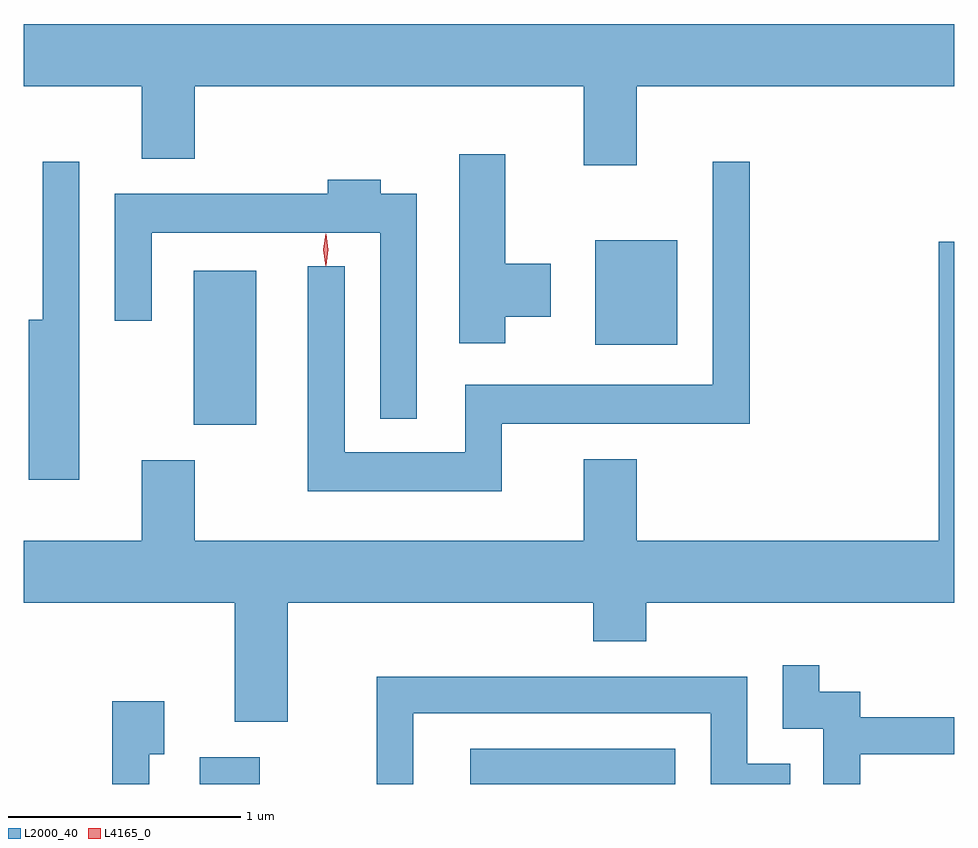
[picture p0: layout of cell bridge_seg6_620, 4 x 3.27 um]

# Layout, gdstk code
import gdstk
lib = gdstk.Library(unit=1e-6, precision=1e-09)
def R(c, l, rs):  # rectangles x0, y0, x1, y1
    for r in rs: c.add(gdstk.rectangle(r[:2], r[2:], *l))
def P(c, l, *ps):  # polygons
    for p in ps: c.add(gdstk.Polygon(p, *l))
L2000_40 = (2000, 40)
L4165_0 = (4165, 0)

bridge_seg6_620 = lib.new_cell('bridge_seg6_620')
R(bridge_seg6_620, L2000_40, [(402.141,1655.818,402.399,1655.934), (403.303,1655.818,404.184,1655.969), (402.116,1657.361,402.384,1658.024), (403.841,1657.706,404.194,1658.154)])
P(bridge_seg6_620, L2000_40, [(404.019,1658.816),(405.384,1658.816),(405.384,1659.084),(401.384,1659.084),(401.384,1658.816),(401.891,1658.816),(401.891,1658.506),(402.119,1658.506),(402.119,1658.816),(403.791,1658.816),(403.791,1658.476),(404.019,1658.476)],
  [(403.454,1657.826),(403.649,1657.826),(403.649,1658.054),(403.454,1658.054),(403.454,1658.524),(403.256,1658.524),(403.256,1657.711),(403.454,1657.711)],
  [(401.624,1658.493),(401.466,1658.493),(401.466,1657.814),(401.406,1657.814),(401.406,1657.126),(401.624,1657.126)],
  [(403.439,1657.366),(404.504,1657.366),(404.504,1658.493),(404.346,1658.493),(404.346,1657.534),(403.281,1657.534),(403.281,1657.244),(402.764,1657.244),(402.764,1658.043),(402.606,1658.043),(402.606,1657.076),(403.439,1657.076)],
  [(403.074,1658.354),(402.919,1658.354),(402.919,1658.414),(402.691,1658.414),(402.691,1658.354),(401.776,1658.354),(401.776,1657.808),(401.934,1657.808),(401.934,1658.186),(402.916,1658.186),(402.916,1657.388),(403.074,1657.388)],
  [(402.519,1656.596),(403.831,1656.596),(403.831,1656.431),(404.059,1656.431),(404.059,1656.596),(405.384,1656.596),(405.384,1658.149),(405.316,1658.149),(405.316,1656.864),(404.019,1656.864),(404.019,1657.214),(403.791,1657.214),(403.791,1656.864),(402.119,1656.864),(402.119,1657.209),(401.891,1657.209),(401.891,1656.864),(401.384,1656.864),(401.384,1656.596),(402.291,1656.596),(402.291,1656.086),(402.519,1656.086)],
  [(404.979,1655.946),(405.384,1655.946),(405.384,1656.104),(404.979,1656.104),(404.979,1656.214),(404.804,1656.214),(404.804,1656.328),(404.646,1656.328),(404.646,1656.056),(404.821,1656.056),(404.821,1655.818),(404.979,1655.818)],
  [(403.059,1656.121),(404.336,1656.121),(404.336,1655.818),(404.678,1655.818),(404.678,1655.904),(404.494,1655.904),(404.494,1656.279),(402.901,1656.279),(402.901,1655.818),(403.059,1655.818)],
  [(401.924,1655.946),(401.989,1655.946),(401.989,1656.174),(401.766,1656.174),(401.766,1655.818),(401.924,1655.818)])
P(bridge_seg6_620, L4165_0, [(402.682,1658.043),(402.682,1658.044),(402.672,1658.113),(402.682,1658.182),(402.682,1658.183),(402.683,1658.182),(402.692,1658.113),(402.683,1658.044)],
  [(402.684,1658.047),(402.684,1658.048),(402.674,1658.114),(402.684,1658.18),(402.684,1658.181),(402.685,1658.18),(402.694,1658.114),(402.685,1658.048)])

lib.write_gds('bridge_seg6_620.gds')
